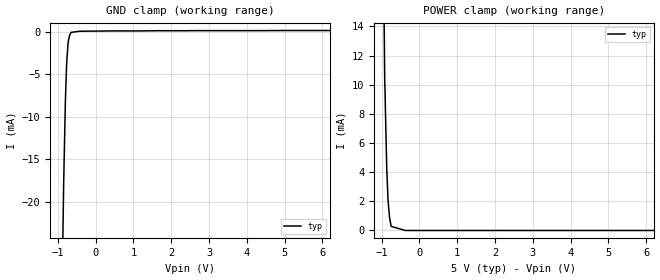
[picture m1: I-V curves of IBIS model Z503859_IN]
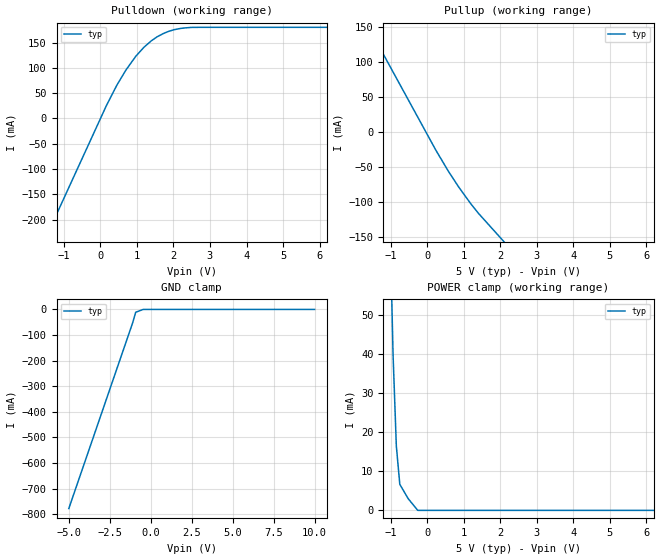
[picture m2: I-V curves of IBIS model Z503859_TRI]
| YOU ARE ONLY AUTHORIZED TO USE THIS SOFTWARE
| ACCORDING TO LICENSOR'S LICENSE RESTRICTIONS.
[IBIS Ver] 3.1
[File Name] mc74act353n.ibs
[File Rev] 2.0
[Source] Measured and created by ICX Technology
[Date] Friday 7/14/00 9:08:01 AM
[Copyright]
| (C) COPYRIGHT 1993-2000
| MENTOR GRAPHICS CORPORATION
| ICX STANDARD LIBRARY, ICX PROJECT MODELING,
| ICX CUSTOM MODELING, ICX VENDOR MODEL
| ALL RIGHTS RESERVED.
| THE FOLLOWING ARE TRADEMARKS OR SERVICE MARKS OF
| MENTOR GRAPHICS CORPORATION:ICX (R), ICX STANDARD
| LIBRARY(R), ICX PROJECT MODELING(R), ICX CUSTOM
| MODELING(R), qualityIBIS(TM), MODELVIEWER(TM),
| AND MODELEDITOR(TM)
| ALL COPIES OF SOFTWARE, INCLUDING BUT NOT LIMITED TO
| ANY MODIFICATIONS, ENHANCEMENTS OR DERIVATIVE WORKS,
| MUST CONTAIN ALL MENTOR GRAPHICS CORPORATION'S
| NOTICES AND LEGENDS, INCLUDING THOSE EMBEDDED IN
| SOFTWARE AND THOSE AFFIXED TO SOFTWARE MEDIUM
| AND CONTAINER, AS RECEIVED FROM MENTOR GRAPHICS
| CORPORATION.
|  ZAP Model Builder 2.7
[Component] MC74ACT353N
[Manufacturer] OnSemiconductor
[Package]
| variable   typ   min   max
R_pkg  .212ohms NA NA
L_pkg  4.758nH NA NA
C_pkg  1.143pF NA NA
[Pin] signal_name  model_name  R_pin  L_pin C_pin
1 _G1 Z503859_IN .224 7.258n 1.578p
2 B Z503859_IN .216 5.258n 1.288p
3 C3A Z503859_IN .208 3.758n .998p
4 C2A Z503859_IN .2 2.758n .708p
5 C1A Z503859_IN .2 2.758n .708p
6 C0A Z503859_IN .208 3.758n .998p
7 _Y1 Z503859_TRI .216 5.258n 1.288p
8 GND GND .224 7.258n 1.578p
9 _Y2 Z503859_TRI .224 7.258n 1.578p
10 C0B Z503859_IN .216 5.258n 1.288p
11 C1B Z503859_IN .208 3.758n .998p
12 C2B Z503859_IN .2 2.758n .708p
13 C3B Z503859_IN .2 2.758n .708p
14 A Z503859_IN .208 3.758n .998p
15 _G2 Z503859_IN .216 5.258n 1.288p
16 VCC POWER .224 7.258n 1.578p
| Models and submodels in the file (2): Z503859_IN (Input), Z503859_TRI (3-state)
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| (C) COPYRIGHT 1993-2000
| MENTOR GRAPHICS CORPORATION
| ICX STANDARD LIBRARY, ICX PROJECT MODELING,
| ICX CUSTOM MODELING, ICX VENDOR MODEL
| ALL RIGHTS RESERVED.
| THE FOLLOWING ARE TRADEMARKS OR SERVICE MARKS OF
| MENTOR GRAPHICS CORPORATION:ICX (R), ICX STANDARD
| LIBRARY(R), ICX PROJECT MODELING(R), ICX CUSTOM
| MODELING(R), qualityIBIS(TM), MODELVIEWER(TM),
| AND MODELEDITOR(TM)
| ALL COPIES OF SOFTWARE, INCLUDING BUT NOT LIMITED TO
| ANY MODIFICATIONS, ENHANCEMENTS OR DERIVATIVE WORKS,
| MUST CONTAIN ALL MENTOR GRAPHICS CORPORATION'S
| NOTICES AND LEGENDS, INCLUDING THOSE EMBEDDED IN
| SOFTWARE AND THOSE AFFIXED TO SOFTWARE MEDIUM
| AND CONTAINER, AS RECEIVED FROM MENTOR GRAPHICS
| CORPORATION.
| Model Application Version 1.89 2/18/99.
[Model] Z503859_IN
Model_type Input
Vinl = 800.0mV
Vinh = 2.000V
C_comp 4.000pF NA NA
| variable typ   min   max
[Voltage Range] 5.000V NA NA
[GND Clamp Reference] 0.000V NA NA
[POWER Clamp Reference] 5.000V NA NA
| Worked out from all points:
|   GND clamp passes 1 mA (typ) near -0.72 V on its own axis
|   POWER clamp passes 1 mA (typ) near -0.79 V on its own axis
[GND Clamp]
-5V       -2.104A    NA         NA
-1.011V   -68.98mA   NA         NA
-846.6mV  -17.98mA   NA         NA
-799.9mV  -8.059mA   NA         NA
-766.4mV  -3.659mA   NA         NA
-727.8mV  -1.22mA    NA         NA
-684.5mV  -329.1uA   NA         NA
-645.1mV  -43.86uA   NA         NA
-430.1mV  84.12uA    NA         NA
1.606V    146.3uA    NA         NA
10V       169.7uA    NA         NA
[POWER Clamp]
-5V       2.292A     NA         NA
-1.123V   82.04mA    NA         NA
-1.011V   35.49mA    NA         NA
-918mV    10.55mA    NA         NA
-864mV    4.272mA    NA         NA
-829mV    2.073mA    NA         NA
-791mV    914.3uA    NA         NA
-747mV    281.7uA    NA         NA
-373.5mV  0A         NA         NA
10V       0A         NA         NA
| (C) COPYRIGHT 1993-2000
| MENTOR GRAPHICS CORPORATION
| ICX STANDARD LIBRARY, ICX PROJECT MODELING,
| ICX CUSTOM MODELING, ICX VENDOR MODEL
| ALL RIGHTS RESERVED.
| THE FOLLOWING ARE TRADEMARKS OR SERVICE MARKS OF
| MENTOR GRAPHICS CORPORATION:ICX (R), ICX STANDARD
| LIBRARY(R), ICX PROJECT MODELING(R), ICX CUSTOM
| MODELING(R), qualityIBIS(TM), MODELVIEWER(TM),
| AND MODELEDITOR(TM)
| ALL COPIES OF SOFTWARE, INCLUDING BUT NOT LIMITED TO
| ANY MODIFICATIONS, ENHANCEMENTS OR DERIVATIVE WORKS,
| MUST CONTAIN ALL MENTOR GRAPHICS CORPORATION'S
| NOTICES AND LEGENDS, INCLUDING THOSE EMBEDDED IN
| SOFTWARE AND THOSE AFFIXED TO SOFTWARE MEDIUM
| AND CONTAINER, AS RECEIVED FROM MENTOR GRAPHICS
| CORPORATION.
| Model Application Version 1.89 2/18/99.
[Model] Z503859_TRI
Model_type 3-state
Vref=0.000V
Rref=500.0ohms
Cref=50.00pF
Vmeas=1.500V
C_comp 8.000pF NA NA
| variable typ   min   max
[Voltage Range] 5.000V NA NA
[POWER Clamp Reference] 5.000V NA NA
[Pullup Reference] 5.000V NA NA
[Pulldown Reference] 0.000V NA NA
[GND Clamp Reference] 0.000V NA NA
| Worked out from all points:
|   slope of the pulldown table from 0 to 0.75 V, typ, clamps not added: 7.4 ohm
|   slope of the pullup table from 0 to 0.75 V, typ, clamps not added: 11.3 ohm
[GND Clamp]
-5V       -778mA     NA         NA
-1.1V     -51.74mA   NA         NA
-918mV    -11.08mA   NA         NA
-459mV    0A         NA         NA
10V       0A         NA         NA
[Pulldown]
-5V       -787.6mA   NA         NA
162.5mV   24.94mA    NA         NA
454.3mV   66.1mA     NA         NA
703.1mV   96.01mA    NA         NA
971.9mV   123mA      NA         NA
1.191V    140.5mA    NA         NA
1.397V    153.5mA    NA         NA
1.548V    161mA      NA         NA
1.86V     171.8mA    NA         NA
2.188V    177.7mA    NA         NA
2.529V    179.9mA    NA         NA
10V       180mA      NA         NA
[Pullup]
-5V       473.4mA    NA         NA
235mV     -25.79mA   NA         NA
582mV     -56.22mA   NA         NA
860mV     -78.38mA   NA         NA
1.191V    -102.3mA   NA         NA
1.396V    -115.7mA   NA         NA
10V       -614.9mA   NA         NA
[POWER Clamp]
-5V       2.057A     NA         NA
-1.04V    81.91mA    NA         NA
-936mV    39.83mA    NA         NA
-846mV    16.45mA    NA         NA
-751mV    6.641mA    NA         NA
-520mV    2.968mA    NA         NA
-260mV    0A         NA         NA
10V       0A         NA         NA
[Ramp]
| variable typ min max
dV/dt_r 2.957/439.3p NA NA
dV/dt_f 2.957/448.3p NA NA
R_load = 500.0Ohms
